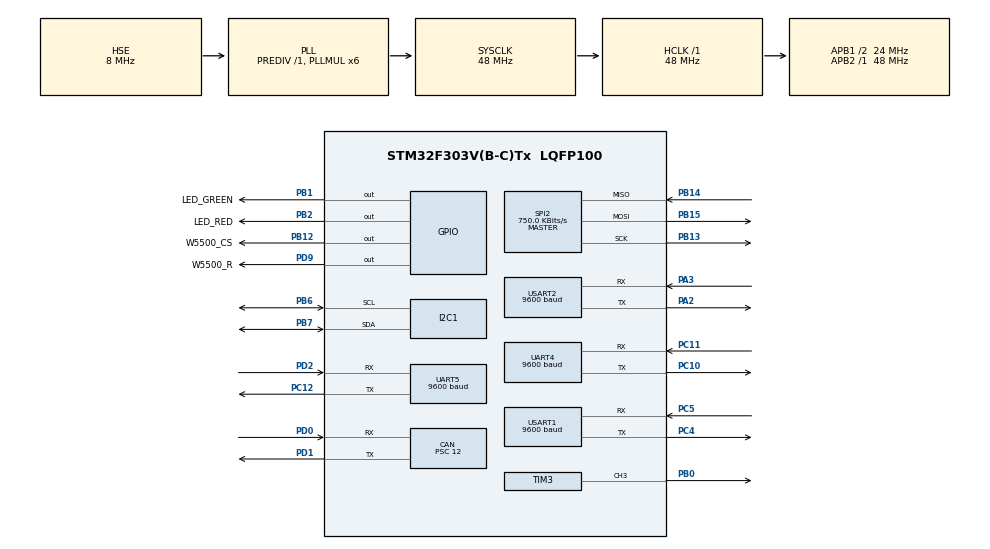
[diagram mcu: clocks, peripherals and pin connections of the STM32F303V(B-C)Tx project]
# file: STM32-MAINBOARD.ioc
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CAN.BS1=CAN_BS1_13TQ
CAN.BS2=CAN_BS2_2TQ
CAN.CalculateBaudRate=125000
CAN.CalculateTimeBit=8000.00
CAN.CalculateTimeQuantum=500.0
CAN.NART=ENABLE
CAN.Prescaler=12
Mcu.Family=STM32F3
Mcu.Name=STM32F303V(B-C)Tx
Mcu.Package=LQFP100
NVIC.CAN_RX1_IRQn=true\:3\:0\:true\:false\:true\:true\:true
NVIC.PriorityGroup=NVIC_PRIORITYGROUP_4
NVIC.TIM2_IRQn=true\:4\:0\:true\:false\:true\:true\:true
NVIC.TIM4_IRQn=true\:5\:0\:true\:false\:true\:true\:true
NVIC.UART4_IRQn=true\:1\:0\:true\:false\:true\:true\:true
NVIC.UART5_IRQn=true\:0\:0\:false\:false\:true\:true\:true
NVIC.USART2_IRQn=true\:2\:0\:true\:false\:true\:true\:true
PA13.Mode=Serial_Wire
PA13.Signal=SYS_JTMS-SWDIO
PA14.Mode=Serial_Wire
PA14.Signal=SYS_JTCK-SWCLK
PA2.Mode=Asynchronous
PA2.Signal=USART2_TX
PA3.Mode=Asynchronous
PA3.Signal=USART2_RX
PB0.Signal=S_TIM3_CH3
PB1.GPIO_Label=LED_GREEN
PB1.Signal=GPIO_Output
PB12.GPIO_Label=W5500_CS
PB12.Signal=GPIO_Output
PB13.Mode=Full_Duplex_Master
PB13.Signal=SPI2_SCK
PB14.Mode=Full_Duplex_Master
PB14.Signal=SPI2_MISO
PB15.Mode=Full_Duplex_Master
PB15.Signal=SPI2_MOSI
PB2.GPIO_Label=LED_RED
PB2.Signal=GPIO_Output
PB3.Signal=SYS_JTDO-TRACESWO
PB6.Mode=I2C
PB6.Signal=I2C1_SCL
PB7.Mode=I2C
PB7.Signal=I2C1_SDA
PC10.Mode=Asynchronous
PC10.Signal=UART4_TX
PC11.Mode=Asynchronous
PC11.Signal=UART4_RX
PC12.Mode=Asynchronous
PC12.Signal=UART5_TX
PC4.Mode=Asynchronous
PC4.Signal=USART1_TX
PC5.Mode=Asynchronous
PC5.Signal=USART1_RX
PD0.Mode=CAN_Activate
PD0.Signal=CAN_RX
PD1.Mode=CAN_Activate
PD1.Signal=CAN_TX
PD2.Mode=Asynchronous
PD2.Signal=UART5_RX
PD9.GPIO_Label=W5500_R
PD9.Signal=GPIO_Output
PF0-OSC_IN.Mode=HSE-External-Oscillator
PF0-OSC_IN.Signal=RCC_OSC_IN
PF1-OSC_OUT.Mode=HSE-External-Oscillator
PF1-OSC_OUT.Signal=RCC_OSC_OUT
ProjectManager.HeapSize=0x200
ProjectManager.StackSize=0x400
ProjectManager.TargetToolchain=STM32CubeIDE
RCC.AHBFreq_Value=48000000
RCC.APB1CLKDivider=RCC_HCLK_DIV2
RCC.APB1Freq_Value=24000000
RCC.APB1TimFreq_Value=48000000
RCC.APB2Freq_Value=48000000
RCC.APB2TimFreq_Value=48000000
RCC.CortexFreq_Value=48000000
RCC.HCLKFreq_Value=48000000
RCC.HSE_VALUE=8000000
RCC.HSI_VALUE=8000000
RCC.LSE_VALUE=32768
RCC.PLLMUL=RCC_PLL_MUL6
RCC.PLLSourceVirtual=RCC_PLLSOURCE_HSE
RCC.SYSCLKFreq_VALUE=48000000
RCC.SYSCLKSourceVirtual=RCC_SYSCLKSOURCE_PLLCLK
RCC.USBFreq_Value=48000000
SH.S_TIM3_CH3.0=TIM3_CH3,PWM Generation3 CH3
SPI2.BaudRatePrescaler=SPI_BAUDRATEPRESCALER_32
SPI2.CalculateBaudRate=750.0 KBits/s
SPI2.DataSize=SPI_DATASIZE_8BIT
SPI2.Direction=SPI_DIRECTION_2LINES
SPI2.Mode=SPI_MODE_MASTER
SPI2.VirtualType=VM_MASTER
TIM2.Period=1499
TIM2.Prescaler=31999
TIM3.Channel-PWM\ Generation3\ CH3=TIM_CHANNEL_3
TIM3.Period=1000-1
TIM3.Prescaler=48-1
TIM4.Period=99
TIM4.Prescaler=31999
UART4.BaudRate=9600
UART5.BaudRate=9600
USART1.BaudRate=9600
USART1.VirtualMode-Asynchronous=VM_ASYNC
USART2.BaudRate=9600
USART2.VirtualMode-Asynchronous=VM_ASYNC
VP_TIM2_VS_ClockSourceINT.Mode=Internal
VP_TIM3_VS_ClockSourceINT.Mode=Internal
VP_TIM4_VS_ClockSourceINT.Mode=Internal
board=custom

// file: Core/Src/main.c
/* USER CODE BEGIN Header */
/**
  ******************************************************************************
  * @file           : main.c
  * @brief          : Main program body
  ******************************************************************************
  * @attention
  *
  * <h2><center>&copy; Copyright (c) 2020 STMicroelectronics.
  * All rights reserved.</center></h2>
  *
  * This software component is licensed by ST under BSD 3-Clause license,
  * the "License"; You may not use this file except in compliance with the
  * License. You may obtain a copy of the License at:
  *                        opensource.org/licenses/BSD-3-Clause
  *
  ******************************************************************************
  */
/* USER CODE END Header */
#include "main.h"

/* USER CODE BEGIN Includes */
#include "mpf.h"
/* USER CODE END Includes */

/* USER CODE BEGIN PM */
MPF_DATA_T      	  mpfData;
CAN_TxHeaderTypeDef   TxHeader;
CAN_RxHeaderTypeDef   RxHeader;
uint8_t               TxData[8];
uint32_t              TxMailbox;
uint8_t               RxData[8];
uint8_t               Cmd_End[3]={0xFF,0xFF,0xFF};
char 			  	  aRxBuffer[20];
/* USER CODE END PM */

CAN_HandleTypeDef hcan;

I2C_HandleTypeDef hi2c1;

SPI_HandleTypeDef hspi2;

TIM_HandleTypeDef htim2;
TIM_HandleTypeDef htim3;
TIM_HandleTypeDef htim4;

UART_HandleTypeDef huart4;
UART_HandleTypeDef huart5;
UART_HandleTypeDef huart1;
UART_HandleTypeDef huart2;

void SystemClock_Config(void);
static void MX_GPIO_Init(void);
static void MX_USART1_UART_Init(void);
static void MX_I2C1_Init(void);
static void MX_UART4_Init(void);
static void MX_UART5_Init(void);
static void MX_USART2_UART_Init(void);
static void MX_SPI2_Init(void);
static void MX_TIM2_Init(void);
static void MX_TIM4_Init(void);
static void MX_CAN_Init(void);
static void MX_TIM3_Init(void);
/* USER CODE BEGIN PFP */
/* Function using for PRINTF in stm32 */
#ifdef  __GNUC__
  #define PUTCHAR_PROTOTYPE int __io_putchar(int ch)
#else
  #define PUTCHAR_PROTOTYPE int fputc(int ch, FILE *f)
#endif

/* Function of main program */
double Round_up(double input);
char* Cut_firstandlast(char *input);
double Convert_array(char *array);
int compare_array(int array1[], int array2[], int array3[], int array4[], int size);
void Initial_void(void);
void network_init(void);
void Selection(void);
int hexadecimalToDecimal(char hexVal[]);
void Check_RFID(void);
void RFID(void);
void Notify_RFID(void);
void Current(void);
void Left(void);
void Right(void);
void Compare_TQV(void);
void Send_hmi(char*array, int val1, double val2);
void Send_char(char*array1, char*id, char*array2);
void Send_current(char*array1, char*id, char*array2);
void Qei_Tqv_Current(void);
void Send_fault(void);
void Ethernet_Send(void);
void Ethernet_Receive(void);
void Get_data(char*array1, char*array2, int val1, int val2, int val3);
/* USER CODE END PFP */

/* USER CODE BEGIN 0 */
PUTCHAR_PROTOTYPE
{
	HAL_UART_Transmit(&huart5, (uint8_t *)&ch, 1,0xFFFF);
	return ch;
}

   void HMI_Send_string (char *id, char *string)          // Function: Send string to HMI display
   {
	   char buf[50];
	   sprintf(buf,"%s.txt=\"%s\"",id,string);
	   HAL_UART_Transmit(&huart4,(uint8_t *)buf,strlen(buf),1000);
	   HAL_UART_Transmit(&huart4,Cmd_End,3,100);
   }

/* This callback is called by the HAL_UART_IRQHandler when the given number of bytes are received */
     void HAL_UART_RxCpltCallback(UART_HandleTypeDef *huart)
     {
       if(huart->Instance == USART2)
       {
      	 uint8_t ret = HAL_OK;
      	     msg++;
      	     if( msg == msg_buff + MAX_RECV_LEN)
      	     {
      	         msg = msg_buff;
      	     }
      	     do
      	     {
      	    	 HAL_UART_Transmit(&huart2, (uint8_t *)msg, 1, 10);
      	         ret = HAL_UART_Receive_IT(&huart2,(uint8_t *)msg,1);
      	         HAL_GPIO_TogglePin(GPIOE,LED_GREEN_Pin);
      	         Flag.usart2 = true;
      	     }while(ret != HAL_OK);
       }
       if (huart->Instance == UART4)
       {
      	 uint8_t ret1 = HAL_OK;
   			 msg1++;
   			 if( msg1 == msg1_buff + MAX_RECV_LEN_S)
   			 {
   				 msg1 = msg1_buff;
   			 }
   			 do
   			 {
   				 ret1 = HAL_UART_Receive_IT(&huart4,(uint8_t *)msg1,1);
   				if (HAL_UART_STATE_READY == huart->RxState && HAL_LOCKED == huart->Lock)
   				{
   					__HAL_UNLOCK(huart);
   				}
   				HAL_GPIO_TogglePin(GPIOE,LED_GREEN_Pin);

   				 Flag.uart4 = true;
   			 }while(ret1 != HAL_OK);
       }
     }

/* This callback is called by the CAN_AddTxMessage */
     void HAL_CAN_RxFifo1MsgPendingCallback(CAN_HandleTypeDef *hcan)
     {
   	   	   	   	   	   	   	   	   /* Get RX message */
      	  if( HAL_CAN_GetRxMessage(hcan, CAN_RX_FIFO1, &RxHeader, RxData) != HAL_OK)
      	  {
      		  Error_Handler();
      	  }
      	  if ((RxHeader.IDE == CAN_ID_STD) && (RxHeader.DLC == 8))
      	  {
      	     switch(RxHeader.StdId)
      	     {
				 case 0x12E:
					  memcpy((&(mpfData.data302.voltageLow)), RxData, 8);
					 /* Updata Moto Crank RPM Data */
					 mpfData.nbiotData.motoCrankRPM = ((uint16_t)mpfData.data302.crankRPMhigh << 8) + (uint16_t)mpfData.data302.crankRPMlow;
					  HAL_GPIO_WritePin(GPIOE,LED_RED_Pin,GPIO_PIN_SET);
					  Flag.qei = true;
					  break;
				 case 0x192:
					 memcpy((&(mpfData.data402.torqueLow)), RxData, 8);
					 /* Updata Moto Torque Data */
					 mpfData.nbiotData.motoTorque = (double)((uint16_t)mpfData.data402.torqueLow + ((uint16_t)mpfData.data402.torqueHigh << 8)) * 5 / 1024;
					  HAL_GPIO_WritePin(GPIOE,LED_RED_Pin,GPIO_PIN_SET);
					  Flag.tqv = true;
					  break;
			 }
      	  }
     }

/* This callback is called by the Timer_IRQ interrupt */
     void HAL_TIM_PeriodElapsedCallback(TIM_HandleTypeDef *htim)
     {
   	   if (htim->Instance == TIM2)
   	   {
   		   if(temp_time2 == 1)
   		   {
   			   Tem.counter = Tem.counter + 1;
   		   }
   	   }
   	   if (htim->Instance == TIM4)
   	   {
   		  switch(temp_time4)
   		  {
   		  case 1:
   			  Left();
   			  break;
   		  case 2:
   			  Right();
   			  break;
   		  case 3:
   			snprintf(time_spent,10,"%d",Tem.counter);
		   for (int i =0, j= 80; ( i<= 4)&&(j <= 83); i++,j++)
		   {
			msg3_buff[j]=time_spent[i];
			if(Tem.counter < 100)
			   {
				   msg3_buff[82]='~';
				   msg3_buff[83]='*';

			   }
			   else if(Tem.counter < 1000)
			   {
				   msg3_buff[83]='~';
				   msg3_buff[84]='*';

			   }
			   else if(Tem.counter < 10000)
			   {
				   msg3_buff[84]='~';
				   msg3_buff[85]='*';
			   }
		   }
   			  break;
   		  case 4:
   			  Compare_TQV();
   			  break;
   		  case 5:
   			  HAL_NVIC_SystemReset();
   		  }
   	   }
     }
/*--------------------------------- Ethernet Function---------------------------------------------------------*/
     void HAL_SPI_ErrorCallback(SPI_HandleTypeDef *hspi)
     {
       printf("SPI_error %ld",hspi2.ErrorCode);
     }
     void W5500_Select(void) {
         HAL_GPIO_WritePin(GPIOB, W5500_CS_Pin, GPIO_PIN_RESET);  // CS LOW
     }
     void W5500_Unselect(void) {
         HAL_GPIO_WritePin(GPIOB, W5500_CS_Pin, GPIO_PIN_SET);    // CS HIGH
     }
     void W5500_ReadBuff(uint8_t* buff, uint16_t len) {
         HAL_SPI_Receive(&hspi2, buff, len, HAL_MAX_DELAY);
     }
     void W5500_WriteBuff(uint8_t* buff, uint16_t len) {
         HAL_SPI_Transmit(&hspi2, buff, len, HAL_MAX_DELAY);
     }
     uint8_t W5500_ReadByte(void) {
         uint8_t byte;
         W5500_ReadBuff(&byte, sizeof(byte));
         return byte;
     }
     void W5500_WriteByte(uint8_t byte) {
         W5500_WriteBuff(&byte, sizeof(byte));
     }
     void Callback_IPAssigned(void) {
         printf("Callback: IP assigned! Leased time: %ld sec\r\n", getDHCPLeasetime());
         ip_assigned = true;
     }
     void Callback_IPConflict(void) {
         printf("Callback: IP conflict!\r\n");
     }
/* USER CODE END 0 */

int main(void)
{

  /* MCU Configuration--------------------------------------------------------*/

  /* Reset of all peripherals, Initializes the Flash interface and the Systick. */
  HAL_Init();

  /* Configure the system clock */
  SystemClock_Config();

  /* Initialize all configured peripherals */
  MX_GPIO_Init();
  MX_USART1_UART_Init();
  MX_I2C1_Init();
  MX_UART4_Init();
  MX_UART5_Init();
  MX_USART2_UART_Init();
  MX_SPI2_Init();
  MX_TIM2_Init();
  MX_TIM4_Init();
  MX_CAN_Init();
  MX_TIM3_Init();
  /* USER CODE BEGIN 2 */
  	Initial_void();
	/* Network initialization */
	network_init();
  /* USER CODE END 2 */

  /* Infinite loop */
  while (1)
  {

    /* USER CODE BEGIN 3 */
#if 1
	  	  /*READ RFID*/
	if(Flag.usart2 == true)
	{
		RFID();
		Flag.usart2 = false;
		__HAL_TIM_SET_COMPARE(&htim3, TIM_CHANNEL_3, 100);
		HAL_Delay(100);
	}
	else
	{
		__HAL_TIM_SET_COMPARE(&htim3, TIM_CHANNEL_3,0);
	}
#endif
#if 1
//	if(flat7 == false)
//	{
//		HAL_Delay(3);
//		HAL_NVIC_SystemReset();
//	}
	if (Flag.uart4 == true)
	  {
		if (msg1_buff[0]==0xff)
		{
			//flat7 = false;
			temp_time4 = 5;
		}
		/* Touch button HOME or RETURN PAGE 0 will reset system*/
		if(msg1_buff[1] == 0x99)
			{
				//flat7 = false;
				temp_time4 = 5;
			}
#if 1
		/*TEST QEI-TQV-CURRENT*/
		if(msg1_buff[1] == 0x31)
			{
				Qei_Tqv_Current();
			}
			    Selection();
#endif
		/*ETHERNET CONNECT*/
		if(msg1_buff[1] == 0x32)
			{
#if 1
				/*Button slowest speed for adding oil motor */
				if(msg1_buff[3] == 0x46)
				{
					TxData[5]= 1;
					TxHeader.StdId = 0x1F5;
					HAL_Delay(2);
						 if(HAL_CAN_AddTxMessage(&hcan,&TxHeader,TxData, &TxMailbox) != HAL_OK)
							{
							   Error_Handler();
							}
				}
				/*Check RFID numbers are different and no lost or the same */
				Notify_RFID();
#endif
#if 1
				/*Touch button SEND*/
				if (msg1_buff[2] == 0x13)
				{
					flat2 = false;
					flat3 = false;
					Ethernet_Send();
				}
				/*Touch button GET*/
				if (msg1_buff[2] == 0x12)
				{
					Ethernet_Receive();
					  if(Flag.recv == true)
					  {
						  /* Display data */
						Get_data(cur1,cur11,6,3,23);	//Sensor washer

						Get_data(cur2,cur22,10,3,24);	//Gear washer

						Get_data(cur3,cur33,14,3,25);	//Shaft washer

						Get_data(cur4,cur44,18,3,26);	//Shaft washer(short side)

						Get_data(cur5,cur55,22,3,27);	//shaft washer

						Get_data(cur,curr,0,5,28);		//Current
						Flag.recv = false;
					  }
				}
#endif
			}
#endif
		}
//#endif
  }
  /* USER CODE END 3 */
}

void SystemClock_Config(void)
{
  RCC_OscInitTypeDef RCC_OscInitStruct = {0};
  RCC_ClkInitTypeDef RCC_ClkInitStruct = {0};
  RCC_PeriphCLKInitTypeDef PeriphClkInit = {0};

  /** Initializes the RCC Oscillators according to the specified parameters
  * in the RCC_OscInitTypeDef structure.
  */
  RCC_OscInitStruct.OscillatorType = RCC_OSCILLATORTYPE_HSI|RCC_OSCILLATORTYPE_HSE;
  RCC_OscInitStruct.HSEState = RCC_HSE_ON;
  RCC_OscInitStruct.HSEPredivValue = RCC_HSE_PREDIV_DIV1;
  RCC_OscInitStruct.HSIState = RCC_HSI_ON;
  RCC_OscInitStruct.HSICalibrationValue = RCC_HSICALIBRATION_DEFAULT;
  RCC_OscInitStruct.PLL.PLLState = RCC_PLL_ON;
  RCC_OscInitStruct.PLL.PLLSource = RCC_PLLSOURCE_HSE;
  RCC_OscInitStruct.PLL.PLLMUL = RCC_PLL_MUL6;
  if (HAL_RCC_OscConfig(&RCC_OscInitStruct) != HAL_OK)
  {
    Error_Handler();
  }
  /** Initializes the CPU, AHB and APB buses clocks
  */
  RCC_ClkInitStruct.ClockType = RCC_CLOCKTYPE_HCLK|RCC_CLOCKTYPE_SYSCLK
                              |RCC_CLOCKTYPE_PCLK1|RCC_CLOCKTYPE_PCLK2;
  RCC_ClkInitStruct.SYSCLKSource = RCC_SYSCLKSOURCE_PLLCLK;
  RCC_ClkInitStruct.AHBCLKDivider = RCC_SYSCLK_DIV1;
  RCC_ClkInitStruct.APB1CLKDivider = RCC_HCLK_DIV2;
  RCC_ClkInitStruct.APB2CLKDivider = RCC_HCLK_DIV1;

  if (HAL_RCC_ClockConfig(&RCC_ClkInitStruct, FLASH_LATENCY_1) != HAL_OK)
  {
    Error_Handler();
  }
  PeriphClkInit.PeriphClockSelection = RCC_PERIPHCLK_USART1|RCC_PERIPHCLK_USART2
                              |RCC_PERIPHCLK_UART4|RCC_PERIPHCLK_UART5
                              |RCC_PERIPHCLK_I2C1;
  PeriphClkInit.Usart1ClockSelection = RCC_USART1CLKSOURCE_PCLK2;
  PeriphClkInit.Usart2ClockSelection = RCC_USART2CLKSOURCE_PCLK1;
  PeriphClkInit.Uart4ClockSelection = RCC_UART4CLKSOURCE_PCLK1;
  PeriphClkInit.Uart5ClockSelection = RCC_UART5CLKSOURCE_PCLK1;
  PeriphClkInit.I2c1ClockSelection = RCC_I2C1CLKSOURCE_HSI;
  if (HAL_RCCEx_PeriphCLKConfig(&PeriphClkInit) != HAL_OK)
  {
    Error_Handler();
  }
}

static void MX_CAN_Init(void)
{

  /* USER CODE BEGIN CAN_Init 0 */
	CAN_FilterTypeDef  sFilterConfig = {0};
  /* USER CODE END CAN_Init 0 */

  hcan.Instance = CAN;
  hcan.Init.Prescaler = 12;
  hcan.Init.Mode = CAN_MODE_NORMAL;
  hcan.Init.SyncJumpWidth = CAN_SJW_1TQ;
  hcan.Init.TimeSeg1 = CAN_BS1_13TQ;
  hcan.Init.TimeSeg2 = CAN_BS2_2TQ;
  hcan.Init.TimeTriggeredMode = DISABLE;
  hcan.Init.AutoBusOff = DISABLE;
  hcan.Init.AutoWakeUp = DISABLE;
  hcan.Init.AutoRetransmission = ENABLE;
  hcan.Init.ReceiveFifoLocked = DISABLE;
  hcan.Init.TransmitFifoPriority = DISABLE;
  if (HAL_CAN_Init(&hcan) != HAL_OK)
  {
    Error_Handler();
  }
  /* USER CODE BEGIN CAN_Init 2 */
  /*##-1- Configure the CAN Filter ###########################################*/

          sFilterConfig.FilterBank = 0;
          sFilterConfig.FilterMode = CAN_FILTERMODE_IDMASK;
          sFilterConfig.FilterScale = CAN_FILTERSCALE_32BIT;
          sFilterConfig.FilterIdHigh = 0x0000;
          sFilterConfig.FilterIdLow = 0x0000;
          sFilterConfig.FilterMaskIdHigh = 0x0000;
          sFilterConfig.FilterMaskIdLow = 0x0000;
          sFilterConfig.FilterFIFOAssignment = CAN_RX_FIFO1;
          sFilterConfig.FilterActivation = ENABLE;
          sFilterConfig.SlaveStartFilterBank = 14;

          if (HAL_CAN_ConfigFilter(&hcan, &sFilterConfig) != HAL_OK)
          {
            /* Filter configuration Error */
            Error_Handler();
          }
      if (HAL_CAN_Start(&hcan) != HAL_OK)
       {
         /* Start Error */
         Error_Handler();
       }
      /*##-2- Activate CAN RX notification #######################################*/
      if (HAL_CAN_ActivateNotification(&hcan, CAN_IT_RX_FIFO1_MSG_PENDING) != HAL_OK)
      {
        /* Notification Error */
        Error_Handler();
      }
      /*##-3- Configure Transmission process #####################################*/

      TxHeader.ExtId = 0x01;
      TxHeader.RTR = CAN_RTR_DATA;
      TxHeader.IDE = CAN_ID_STD;
      TxHeader.DLC = 8;
      TxHeader.TransmitGlobalTime = DISABLE;
  /* USER CODE END CAN_Init 2 */

}

static void MX_I2C1_Init(void)
{

  hi2c1.Instance = I2C1;
  hi2c1.Init.Timing = 0x2000090E;
  hi2c1.Init.OwnAddress1 = 0;
  hi2c1.Init.AddressingMode = I2C_ADDRESSINGMODE_7BIT;
  hi2c1.Init.DualAddressMode = I2C_DUALADDRESS_DISABLE;
  hi2c1.Init.OwnAddress2 = 0;
  hi2c1.Init.OwnAddress2Masks = I2C_OA2_NOMASK;
  hi2c1.Init.GeneralCallMode = I2C_GENERALCALL_DISABLE;
  hi2c1.Init.NoStretchMode = I2C_NOSTRETCH_DISABLE;
  if (HAL_I2C_Init(&hi2c1) != HAL_OK)
  {
    Error_Handler();
  }
  /** Configure Analogue filter
  */
  if (HAL_I2CEx_ConfigAnalogFilter(&hi2c1, I2C_ANALOGFILTER_ENABLE) != HAL_OK)
  {
    Error_Handler();
  }
  /** Configure Digital filter
  */
  if (HAL_I2CEx_ConfigDigitalFilter(&hi2c1, 0) != HAL_OK)
  {
    Error_Handler();
  }

}

static void MX_SPI2_Init(void)
{

  /* SPI2 parameter configuration*/
  hspi2.Instance = SPI2;
  hspi2.Init.Mode = SPI_MODE_MASTER;
  hspi2.Init.Direction = SPI_DIRECTION_2LINES;
  hspi2.Init.DataSize = SPI_DATASIZE_8BIT;
  hspi2.Init.CLKPolarity = SPI_POLARITY_LOW;
  hspi2.Init.CLKPhase = SPI_PHASE_1EDGE;
  hspi2.Init.NSS = SPI_NSS_SOFT;
  hspi2.Init.BaudRatePrescaler = SPI_BAUDRATEPRESCALER_32;
  hspi2.Init.FirstBit = SPI_FIRSTBIT_MSB;
  hspi2.Init.TIMode = SPI_TIMODE_DISABLE;
  hspi2.Init.CRCCalculation = SPI_CRCCALCULATION_DISABLE;
  hspi2.Init.CRCPolynomial = 7;
  hspi2.Init.CRCLength = SPI_CRC_LENGTH_DATASIZE;
  hspi2.Init.NSSPMode = SPI_NSS_PULSE_ENABLE;
  if (HAL_SPI_Init(&hspi2) != HAL_OK)
  {
    Error_Handler();
  }

}

static void MX_TIM2_Init(void)
{

  TIM_ClockConfigTypeDef sClockSourceConfig = {0};
  TIM_MasterConfigTypeDef sMasterConfig = {0};

  htim2.Instance = TIM2;
  htim2.Init.Prescaler = 31999;
  htim2.Init.CounterMode = TIM_COUNTERMODE_UP;
  htim2.Init.Period = 1499;
  htim2.Init.ClockDivision = TIM_CLOCKDIVISION_DIV1;
  htim2.Init.AutoReloadPreload = TIM_AUTORELOAD_PRELOAD_DISABLE;
  if (HAL_TIM_Base_Init(&htim2) != HAL_OK)
  {
    Error_Handler();
  }
  sClockSourceConfig.ClockSource = TIM_CLOCKSOURCE_INTERNAL;
  if (HAL_TIM_ConfigClockSource(&htim2, &sClockSourceConfig) != HAL_OK)
  {
    Error_Handler();
  }
  sMasterConfig.MasterOutputTrigger = TIM_TRGO_RESET;
  sMasterConfig.MasterSlaveMode = TIM_MASTERSLAVEMODE_DISABLE;
  if (HAL_TIMEx_MasterConfigSynchronization(&htim2, &sMasterConfig) != HAL_OK)
  {
    Error_Handler();
  }

}

static void MX_TIM3_Init(void)
{

  TIM_ClockConfigTypeDef sClockSourceConfig = {0};
  TIM_MasterConfigTypeDef sMasterConfig = {0};
  TIM_OC_InitTypeDef sConfigOC = {0};

  htim3.Instance = TIM3;
  htim3.Init.Prescaler = 48-1;
  htim3.Init.CounterMode = TIM_COUNTERMODE_UP;
  htim3.Init.Period = 1000-1;
  htim3.Init.ClockDivision = TIM_CLOCKDIVISION_DIV1;
  htim3.Init.AutoReloadPreload = TIM_AUTORELOAD_PRELOAD_DISABLE;
  if (HAL_TIM_Base_Init(&htim3) != HAL_OK)
  {
    Error_Handler();
  }
  sClockSourceConfig.ClockSource = TIM_CLOCKSOURCE_INTERNAL;
  if (HAL_TIM_ConfigClockSource(&htim3, &sClockSourceConfig) != HAL_OK)
  {
    Error_Handler();
  }
  if (HAL_TIM_PWM_Init(&htim3) != HAL_OK)
  {
    Error_Handler();
  }
  sMasterConfig.MasterOutputTrigger = TIM_TRGO_RESET;
  sMasterConfig.MasterSlaveMode = TIM_MASTERSLAVEMODE_DISABLE;
  if (HAL_TIMEx_MasterConfigSynchronization(&htim3, &sMasterConfig) != HAL_OK)
  {
    Error_Handler();
  }
  sConfigOC.OCMode = TIM_OCMODE_PWM1;
  sConfigOC.Pulse = 0;
  sConfigOC.OCPolarity = TIM_OCPOLARITY_HIGH;
  sConfigOC.OCFastMode = TIM_OCFAST_DISABLE;
  if (HAL_TIM_PWM_ConfigChannel(&htim3, &sConfigOC, TIM_CHANNEL_3) != HAL_OK)
  {
    Error_Handler();
  }
  HAL_TIM_MspPostInit(&htim3);

}

static void MX_TIM4_Init(void)
{

  TIM_ClockConfigTypeDef sClockSourceConfig = {0};
  TIM_MasterConfigTypeDef sMasterConfig = {0};

  htim4.Instance = TIM4;
  htim4.Init.Prescaler = 31999;
  htim4.Init.CounterMode = TIM_COUNTERMODE_UP;
  htim4.Init.Period = 99;
  htim4.Init.ClockDivision = TIM_CLOCKDIVISION_DIV1;
  htim4.Init.AutoReloadPreload = TIM_AUTORELOAD_PRELOAD_DISABLE;
  if (HAL_TIM_Base_Init(&htim4) != HAL_OK)
  {
    Error_Handler();
  }
  sClockSourceConfig.ClockSource = TIM_CLOCKSOURCE_INTERNAL;
  if (HAL_TIM_ConfigClockSource(&htim4, &sClockSourceConfig) != HAL_OK)
  {
    Error_Handler();
  }
  sMasterConfig.MasterOutputTrigger = TIM_TRGO_RESET;
  sMasterConfig.MasterSlaveMode = TIM_MASTERSLAVEMODE_DISABLE;
  if (HAL_TIMEx_MasterConfigSynchronization(&htim4, &sMasterConfig) != HAL_OK)
  {
    Error_Handler();
  }

}

static void MX_UART4_Init(void)
{

  huart4.Instance = UART4;
  huart4.Init.BaudRate = 9600;
  huart4.Init.WordLength = UART_WORDLENGTH_8B;
  huart4.Init.StopBits = UART_STOPBITS_1;
  huart4.Init.Parity = UART_PARITY_NONE;
  huart4.Init.Mode = UART_MODE_TX_RX;
  huart4.Init.HwFlowCtl = UART_HWCONTROL_NONE;
  huart4.Init.OverSampling = UART_OVERSAMPLING_16;
  huart4.Init.OneBitSampling = UART_ONE_BIT_SAMPLE_DISABLE;
  huart4.AdvancedInit.AdvFeatureInit = UART_ADVFEATURE_NO_INIT;
  if (HAL_UART_Init(&huart4) != HAL_OK)
  {
    Error_Handler();
  }

}

static void MX_UART5_Init(void)
{

  huart5.Instance = UART5;
  huart5.Init.BaudRate = 9600;
  huart5.Init.WordLength = UART_WORDLENGTH_8B;
  huart5.Init.StopBits = UART_STOPBITS_1;
  huart5.Init.Parity = UART_PARITY_NONE;
  huart5.Init.Mode = UART_MODE_TX_RX;
  huart5.Init.HwFlowCtl = UART_HWCONTROL_NONE;
  huart5.Init.OverSampling = UART_OVERSAMPLING_16;
  huart5.Init.OneBitSampling = UART_ONE_BIT_SAMPLE_DISABLE;
  huart5.AdvancedInit.AdvFeatureInit = UART_ADVFEATURE_NO_INIT;
  if (HAL_UART_Init(&huart5) != HAL_OK)
  {
    Error_Handler();
  }

}

static void MX_USART1_UART_Init(void)
{

  huart1.Instance = USART1;
  huart1.Init.BaudRate = 9600;
  huart1.Init.WordLength = UART_WORDLENGTH_8B;
  huart1.Init.StopBits = UART_STOPBITS_1;
  huart1.Init.Parity = UART_PARITY_NONE;
  huart1.Init.Mode = UART_MODE_TX_RX;
  huart1.Init.HwFlowCtl = UART_HWCONTROL_NONE;
  huart1.Init.OverSampling = UART_OVERSAMPLING_16;
  huart1.Init.OneBitSampling = UART_ONE_BIT_SAMPLE_DISABLE;
  huart1.AdvancedInit.AdvFeatureInit = UART_ADVFEATURE_NO_INIT;
  if (HAL_UART_Init(&huart1) != HAL_OK)
  {
    Error_Handler();
  }

}

static void MX_USART2_UART_Init(void)
{

  huart2.Instance = USART2;
  huart2.Init.BaudRate = 9600;
  huart2.Init.WordLength = UART_WORDLENGTH_8B;
  huart2.Init.StopBits = UART_STOPBITS_1;
  huart2.Init.Parity = UART_PARITY_NONE;
  huart2.Init.Mode = UART_MODE_TX_RX;
  huart2.Init.HwFlowCtl = UART_HWCONTROL_NONE;
  huart2.Init.OverSampling = UART_OVERSAMPLING_16;
  huart2.Init.OneBitSampling = UART_ONE_BIT_SAMPLE_DISABLE;
  huart2.AdvancedInit.AdvFeatureInit = UART_ADVFEATURE_NO_INIT;
  if (HAL_UART_Init(&huart2) != HAL_OK)
  {
    Error_Handler();
  }

}

static void MX_GPIO_Init(void)
{
  GPIO_InitTypeDef GPIO_InitStruct = {0};

  /* GPIO Ports Clock Enable */
  __HAL_RCC_GPIOF_CLK_ENABLE();
  __HAL_RCC_GPIOA_CLK_ENABLE();
  __HAL_RCC_GPIOC_CLK_ENABLE();
  __HAL_RCC_GPIOB_CLK_ENABLE();
  __HAL_RCC_GPIOD_CLK_ENABLE();

  /*Configure GPIO pin Output Level */
  HAL_GPIO_WritePin(GPIOB, LED_GREEN_Pin|LED_RED_Pin|W5500_CS_Pin, GPIO_PIN_RESET);

  /*Configure GPIO pin Output Level */
  HAL_GPIO_WritePin(W5500_R_GPIO_Port, W5500_R_Pin, GPIO_PIN_RESET);

  /*Configure GPIO pins : LED_GREEN_Pin LED_RED_Pin W5500_CS_Pin */
  GPIO_InitStruct.Pin = LED_GREEN_Pin|LED_RED_Pin|W5500_CS_Pin;
  GPIO_InitStruct.Mode = GPIO_MODE_OUTPUT_PP;
  GPIO_InitStruct.Pull = GPIO_NOPULL;
  GPIO_InitStruct.Speed = GPIO_SPEED_FREQ_LOW;
  HAL_GPIO_Init(GPIOB, &GPIO_InitStruct);

  /*Configure GPIO pin : W5500_R_Pin */
  GPIO_InitStruct.Pin = W5500_R_Pin;
  GPIO_InitStruct.Mode = GPIO_MODE_OUTPUT_PP;
  GPIO_InitStruct.Pull = GPIO_NOPULL;
  GPIO_InitStruct.Speed = GPIO_SPEED_FREQ_LOW;
  HAL_GPIO_Init(W5500_R_GPIO_Port, &GPIO_InitStruct);

}

/* USER CODE BEGIN 4 */
/*---------------------------------------------------Secondary Function------------------------------------------------*/
double Round_up(double input)
{
	double value = (int)(input * 100 + .5);
	return value / 100;
}
char * Cut_firstandlast(char *input)
{
  int len = strlen(input);
  if(len > 0)
    input++;                //Go past the first char
  if(len > 1)
    input[len - 2] = '\0'; //Replace the last char with a null termination
  return input;
}

double Convert_array(char *array)
{
	char x = array[14];
	double y;
	int pos = 0;
	int size = sizeof(array);
	for(int i = pos; i< size + 2; i++)
	{
		array[i]=array[i+1];
	}
	size--;
	int len = strlen(array);
	if (len > 0)
	{
		array[len-8] = '\0';
	}
	y = atof(array);
	switch (x)
	{
	case '0':
		break;
	case '1':
		y = y / 10;
		break;
	case '2':
		y = y / 100;
		break;
	}
	return y;
}

int hexadecimalToDecimal(char hexVal[])
{
    int len = strlen(hexVal);

    // Initializing base value to 1, i.e 16^0
    int base = 1;
    int dec_val = 0;

    // Extracting characters as digits from last character
    for (int i=len-1; i>=0; i--)
    {
        // if character lies in '0'-'9', converting
        // it to integral 0-9 by subtracting 48 from
        // ASCII value.
        if (hexVal[i]>='0' && hexVal[i]<='9')
        {
            dec_val += (hexVal[i] - 48)*base;
            // incrementing base by power
            base = base * 16;
        }
        // if character lies in 'A'-'F' , converting
        // it to integral 10 - 15 by subtracting 55
        // from ASCII value
        else if (hexVal[i]>='A' && hexVal[i]<='F')
        {
            dec_val += (hexVal[i] - 55)*base;
            // incrementing base by power
            base = base*16;
        }
    }
    return dec_val;
}
int compare_array(int array1[], int array2[], int array3[], int array4[], int size)
{

   int g,h,k,l,m,n = 0;
	for(int i=1; i< size ; i++)
	{
		if(array1[i] != array2[i])
		{
			g = 1;
		}
		if(array1[i] != array3[i])
		{
			h = 1;
		}
		if(array1[i] != array4[i])
		{
			k = 1;
		}
		if(array2[i] != array3[i])
		{
			l = 1;
		}
		if(array2[i] != array4[i])
		{
			m = 1;
		}
		if(array3[i] != array4[i])
		{
			n = 1;
		}
	}
	if ((g==1)&&(h==1)&&(k==1)&&(l==1)&&(m==1)&&(n==1))
	{
		temp_array = 1;
	}
	else {temp_array = 2;}
	return temp_array;
}
void Send_hmi(char*array, int val1, double val2)
{
	sprintf(array,"t%d.txt=\"%.2f\"",val1,val2);
	HAL_UART_Transmit(&huart4,(uint8_t *)array,strlen(array),1000);
	HAL_UART_Transmit(&huart4,Cmd_End,3,100);
}
void Send_char(char*array1, char*id, char*array2)
{
	sprintf(array1,"%s.txt=\"%s\"",id,array2);
	HAL_UART_Transmit(&huart4,(uint8_t *)array1,strlen(array1),1000);
	HAL_UART_Transmit(&huart4,Cmd_End,3,100);
}
void Send_current(char*array1, char*id, char*array2)
{
	sprintf(array1,"%s.txt=\"%.6s\"",id,array2);
	HAL_UART_Transmit(&huart4,(uint8_t *)array1,strlen(array1),1000);
	HAL_UART_Transmit(&huart4,Cmd_End,3,100);
}
/*-----------------------------------------------------Initial void--------------------------------------------------*/
void Initial_void(void)
{
	/* Open all interrupts in use*/
	if(HAL_UART_Receive_IT(&huart2,(uint8_t *)msg,1) != HAL_OK)
	{
		Error_Handler();
	}
	if(HAL_UART_Receive_IT(&huart4,(uint8_t *)msg1,1) != HAL_OK)
	{
		Error_Handler();
	}
	HAL_TIM_Base_Start_IT(&htim4);
	HAL_TIM_Base_Start_IT(&htim2);
	HAL_TIM_PWM_Start(&htim3, TIM_CHANNEL_3);
	/*Reset W5500 before running program*/
	HAL_GPIO_WritePin(GPIOC,W5500_R_Pin,GPIO_PIN_SET);
	HAL_Delay(5);
	HAL_GPIO_WritePin(GPIOC,W5500_R_Pin,GPIO_PIN_RESET);
	/* Set all value in buff */
	msg4_buff[0]='~';
	msg4_buff[1]='G';
	msg4_buff[2]='E';
	msg4_buff[3]='T';
	msg4_buff[4]='~';

	for (int a=0,b=37,c=48,d=59; (a<=9)&&(b<=46)&&(c<=57)&&(d<=68); a++,b++,c++,d++)
	{
	   msg3_buff[a]='0';
	   msg3_buff[b]='0';
	   msg3_buff[c]='0';
	   msg3_buff[d]='0';
	}
	msg3_buff[10]='~';

	for(int i=16; i <= 36; i+=4)
	{
		msg3_buff[i]='~';
		if (i == 36)
		{
			i+=11;
			for(i=47; i <=69; i+=11)
			{
				msg3_buff[i]='~';
				if (i == 69)
				{
					i+=5;
					for(i=74; i < 80; i+=5)
					{
						msg3_buff[i]='~';
					}
				}
			}
		}
	}
	for(int i=18; i<35; i+=4)
	{
		msg3_buff[i]='.';
	}
	for(int i=17; i <= 25; i+=4)
	{
		msg3_buff[i]='0';
		if(i == 25)
		{
			for(i =25; i <= 35; i+=2)
			{
				msg3_buff[i]='0';
			}
		}
	}

}
/*-----------------------------------------------------Ethernet void--------------------------------------------------*/
void network_init(void)
{
	/* Chip selection call back */
	#if   _WIZCHIP_IO_MODE_ == _WIZCHIP_IO_MODE_SPI_VDM_
		reg_wizchip_cs_cbfunc(W5500_Select, W5500_Unselect);
	#elif _WIZCHIP_IO_MODE_ == _WIZCHIP_IO_MODE_SPI_FDM_
		reg_wizchip_cs_cbfunc(SPI_CS_Select, SPI_CS_Deselect);  // CS must be tried with LOW.
	#else
	#if (_WIZCHIP_IO_MODE_ & _WIZCHIP_IO_MODE_SIP_) != _WIZCHIP_IO_MODE_SIP_
		#error "Unknown _WIZCHIP_IO_MODE_"
	#else
		reg_wizchip_cs_cbfunc(wizchip_select, wizchip_deselect);
	#endif
	#endif
	/* SPI Read & Write callback function */
	reg_wizchip_spi_cbfunc(W5500_ReadByte, W5500_WriteByte);

	/* WIZCHIP SOCKET Buffer initialize */
	if(ctlwizchip(CW_INIT_WIZCHIP,(void*)memsize) == -1){
		printf("WIZCHIP Initialized fail.\r\n");
	while(1);
	}
	/* PHY link status check */
	do{
		if(ctlwizchip(CW_GET_PHYLINK, (void*)&tmp) == -1){
			printf("Unknown PHY Link status.\r\n");
		}
	}while(tmp == PHY_LINK_OFF);
    uint8_t tmpstr[6];
	ctlnetwork(CN_SET_NETINFO, (void*)&gWIZNETINFO);
	ctlnetwork(CN_GET_NETINFO, (void*)&gWIZNETINFO);
	// Display Network Information
	ctlwizchip(CW_GET_ID,(void*)tmpstr);
//	uint8_t ip[4];
//	getSIPR (ip);
//	    printf("IP : %d.%d.%d.%d\r\n", ip[0],ip[1],ip[2],ip[3]);
//	    getSUBR(ip);
//	    printf("SN : %d.%d.%d.%d\r\n", ip[0],ip[1],ip[2],ip[3]);
//	    getGAR(ip);
//	    printf("GW : %d.%d.%d.%d\r\n", ip[0],ip[1],ip[2],ip[3]);
//	    printf("Network is ready.\r\n");

}
/*----------------------------------------------------Selection void----------------------------------------------------*/
void Selection(void)
{
	switch (msg1_buff[4])
	  {
	  case 0x70:
		  msg3_buff[19]='3';
		  break;
	  case 0x71:
		  msg3_buff[19]='4';
		  break;
	  case 0x72:
		  msg3_buff[19]='5';
		  break;
	  case 0x73:
		  msg3_buff[19]='6';
		  break;
	  case 0x93:
		  msg3_buff[19]='8';
	  }
	switch (msg1_buff[5])
	  {
	  case 0x74:
		  msg3_buff[23]='3';
		  break;
	  case 0x75:
		  msg3_buff[23]='4';
		  break;
	  case 0x76:
		  msg3_buff[23]='5';
		  break;
	  case 0x77:
		  msg3_buff[23]='6';
		  break;
	  case 0x78:
		  msg3_buff[23]='7';
		  break;
	  }
	switch (msg1_buff[6])
	  {
	  case 0x79:
		  msg3_buff[25]='1';
		  msg3_buff[27]='8';
		  break;
	  case 0x80:
		  msg3_buff[25]='1';
		  msg3_buff[27]='9';
		  break;
	  case 0x81:
		  msg3_buff[25]='2';
		  msg3_buff[27]='0';
		  break;
	  case 0x82:
		  msg3_buff[29]='2';
		  msg3_buff[31]='3';
		  break;
	  case 0x83:
		  msg3_buff[29]='2';
		  msg3_buff[31]='4';
		  break;
	  case 0x84:
		  msg3_buff[29]='2';
		  msg3_buff[31]='5';
		  break;
	  case 0x85:
		  msg3_buff[29]='2';
		  msg3_buff[31]='6';
		  break;
	  case 0x86:
		  msg3_buff[29]='2';
		  msg3_buff[31]='7';
		  break;
	  case 0x87:
		  msg3_buff[33]='5';
		  msg3_buff[35]='5';
		  break;
	  case 0x88:
		  msg3_buff[33]='5';
		  msg3_buff[35]='6';
		  break;
	  case 0x89:
		  msg3_buff[33]='5';
		  msg3_buff[35]='7';
		  break;
	  case 0x90:
		  msg3_buff[33]='5';
		  msg3_buff[35]='8';
		  break;
	  case 0x91:
		  msg3_buff[33]='5';
		  msg3_buff[35]='9';
		  break;
	  case 0x92:
		  msg3_buff[33]='6';
		  msg3_buff[35]='0';
		  break;
	  }
}
/*----------------------------------------------------RFID void----------------------------------------------------*/
void RFID(void)
{
	HAL_Delay(3);
	char *msg_bufff = Cut_firstandlast(msg_buff);
	memcpy(msg2_buff,&msg_bufff[2],8*sizeof(char));
	snprintf(buff4,sizeof(buff4),"%010d",hexadecimalToDecimal(msg2_buff));
			if(msg1_buff[1] == 0x31)
			{
				for (int a=0; a < 10; a++)             // RFID MOTOR
					{
					   msg3_buff[a] = buff4[a];
					   com1[a] = buff4[a];
					}
					t1=1;
					Send_char(buff,"t10",buff4);
			}
			else if(msg1_buff[1]== 0x32)
			{
				switch (msg1_buff[3])
					{
						case 0x40:;
							for(int i = 0,j=37;(i <= 9)&&(j <= 46); i++,j++)      // RFID TORQUE
								{
									msg3_buff[j] = buff4[i];
									com2[i] = buff4[i];
								}
							t2=1;
							Send_char(buff,"bt21",buff4);
							break;
						case 0x42:
							for(int i = 0,j=5;(i <= 9)&&(j <= 16); i++,j++)       // RFID MOTOR WHEN USING GET
								{
									msg4_buff[j] = buff4[i];
								}
							Send_char(buff,"bt20",buff4);
							break;
						case 0x44:
							for(int i = 0,j=48;(i <= 9)&&(j <= 57); i++,j++)      // RFID MODEL
								{
									msg3_buff[j] = buff4[i];
									com3[i] = buff4[i];
								}
							t3=1;
							Send_char(buff,"bt22",buff4);
							compare_array(com1,com2,com3,com4,10);
							break;
					}
			}
		  else
			{
				for(int i = 0,j=59;(i <= 9)&&(j <= 68); i++,j++)              //RFID Employee
					{
						msg3_buff[j] = buff4[i];
						com4[i] = buff4[i];
					}
			  t4=1;
			  Send_char(buff,"t00",buff4);
			  memset(msg1_buff,0,sizeof(msg1_buff));
			}
	  memset(msg_buff, 0, sizeof(msg_buff));
	  msg = msg_buff;
	  (&huart2)->pRxBuffPtr = (uint8_t *)msg;
}
void Notify_RFID(void)
{
	if(flat4 == false)
		{
			if(((t1+t2+t3+t4) == 4)&&(flat2)&&(temp_array == 1))
			{
				HMI_Send_string("t29","可以發送");
			}
			if(((t1+t2+t3+t4) != 4)&&(flat3))
			{
				HMI_Send_string("t29","RFID 遺失");
			}
			if ((temp_array == 2)&&(flat3))
			{
				HMI_Send_string("t29","RFID 一樣");
			}
		}
	if(flat6 == false)
		{
			if(((t1+t2+t3+t4) == 4)&&(flat2)&&(temp_array == 1))
			{
				HMI_Send_string("t29","CAN SEND");
			}
			if(((t1+t2+t3+t4) != 4)&&(flat3))
			{
				HMI_Send_string("t29","LOST RFID");
			}
			if ((temp_array == 2)&&(flat3))
			{
				HMI_Send_string("t29","SAME RFID");
			}
		}
	if (flat5 == false)
	{
		if(((t1+t2+t3+t4) == 4)&&(flat2)&&(temp_array == 1))
			{
				HMI_Send_string("t29","CÓ THỂ GỬI");
			}
			if(((t1+t2+t3+t4) != 4)&&(flat3))
			{
				HMI_Send_string("t29","THIẾU RFID");
			}
			if ((temp_array == 2)&&(flat3))
			{
				HMI_Send_string("t29","TRÙNG RFID");
			}
	}
}
/*----------------------------------------------------QEI-TQV-CURRENT void----------------------------------------------------*/
void Current(void)
{
	/*Send CAN Bus value to boost maximum motor speed */
	TxData[0]= 0xCA;
	TxData[1]= 1;
	TxHeader.StdId = 0x321;
		 if(HAL_CAN_AddTxMessage(&hcan,&TxHeader,TxData, &TxMailbox) != HAL_OK)
			{
			 //  Error_Handler();
			   printf("fault current \r\n" );
			}
									   /* Motor Run */
		 HAL_UART_Transmit(&huart1,(uint8_t *)ar, strlen(ar),1000);
		 HAL_UART_Receive(&huart1,(uint8_t *)aRxBuffer, 10,500);

		 Send_current(buf1,"t17",aRxBuffer);

		 HAL_UART_Transmit(&huart1,(uint8_t *)ar1, strlen(ar1),1000);
		 HAL_UART_Receive(&huart1,(uint8_t *)aRxBuffer1, 20,500);

		 Tem.z = Convert_array(aRxBuffer1);
		 snprintf(aRxBuffer_new,20,"%f", Tem.z);

		 for(int i = 0,j=11;(i <= 5)&&(j <= 15); i++,j++)
			{
				msg3_buff[j]=aRxBuffer_new[i];
			}
		 Send_current(buf2,"t18",aRxBuffer_new);
}
void Left(void)
{
	TxHeader.StdId = 0x12D;
	if(HAL_CAN_AddTxMessage(&hcan,&TxHeader,TxData, &TxMailbox) != HAL_OK)
	   {
		   Error_Handler();
	   }
	if(Flag.qei == true)
	  {
		sprintf(buff2,"t13.txt=\"%2.2x\"",mpfData.nbiotData.motoCrankRPM);
		HAL_UART_Transmit(&huart4,(uint8_t *)buff2,strlen(buff2),1000);
		HAL_UART_Transmit(&huart4,Cmd_End,3,100);
	  }
}
void Right(void)
{
	TxHeader.StdId = 0x12D;
	if(HAL_CAN_AddTxMessage(&hcan,&TxHeader,TxData, &TxMailbox) != HAL_OK)
	 {
		Error_Handler();
	 }
	if(Flag.qei == true)
	{
		sprintf(buff2,"t12.txt=\"%2.2x\"",mpfData.nbiotData.motoCrankRPM);
		HAL_UART_Transmit(&huart4,(uint8_t *)buff2,strlen(buff2),1000);
		HAL_UART_Transmit(&huart4,Cmd_End,3,100);
	}
}
void Compare_TQV(void)
{
	Send_hmi(buff,15,mpfData.nbiotData.motoTorque);
	Tem.size++;
	arr[Tem.size] = mpfData.nbiotData.motoTorque;
	if (Tem.size == 300){Tem.size =0;}
							   /* Find max and min*/
			 Tem.min = arr[1];
			 Tem.max = arr[1];
				   for(int i =2; i<Tem.size; i++)
				   {
						if (arr[i] < Tem.min)
						   {
							Tem.min = arr[i];
						   }

						if (arr[i] > Tem.max)
						   {
							Tem.max = arr[i];
						   }

				   }
				   Send_hmi(buff3,16,Tem.min);

				   Send_hmi(buff1,14,Tem.max);

				snprintf(max1,10,"%f",Round_up(Tem.max));
				for(int i =0, j = 75;(i<= 3)&&(j <= 78); i++, j++)
				{
					msg3_buff[j]= max1[i];
				}
				snprintf(min1,10,"%f",Round_up(Tem.min));
				for(int i =0, j = 70;(i<= 3)&&(j <= 73); i++, j++)
				{
					msg3_buff[j]= min1[i];
				}
			  if (msg1_buff[3] == 52)                 // Model "41" Motor
			  {
				  if (Tem.min <= 4.10 )
				  {
					switch(msg1_buff[7])
						{
						case 0x27:
							HMI_Send_string("t11","Success");
							flat6 = false;
							break;
						case 0x28:
							HMI_Send_string("t11","成功");
							flat4 = false;
							break;
						case 0x29:
							HMI_Send_string("t11","Đạt");
							flat5 = false;
							break;
						}
				  }
				  else
				  {
					switch(msg1_buff[7])
						{
						case 0x27:
							HMI_Send_string("t11","Fail");
							flat6 = false;
							break;
						case 0x28:
							HMI_Send_string("t11","失敗");
							flat4 = false;
							break;
						case 0x29:
							HMI_Send_string("t11","Không đạt");
							flat5 = false;
							break;
						}
				  }
			  }
			  else                                   // For Another motors (6.0 or M2...)
			  {
						  /* Calculate value and give the motor's result*/
				if((Tem.max - Tem.min) <= 0.3 && (Tem.max - Tem.min) >= 0.11 )
					{
					switch(msg1_buff[7])
						{
						case 0x27:
							HMI_Send_string("t11","Success");
							flat6 = false;
							break;
						case 0x28:
							HMI_Send_string("t11","成功");
							flat4 = false;
							break;
						case 0x29:
							HMI_Send_string("t11","Đạt");
							flat5 = false;
							break;
						}
					}
				else
					{
					switch(msg1_buff[7])
						{
						case 0x27:
							HMI_Send_string("t11","Fail");
							flat6 = false;
							break;
						case 0x28:
							HMI_Send_string("t11","失敗");
							flat4 = false;
							break;
						case 0x29:
							HMI_Send_string("t11","Không đạt");
							flat5 = false;
							break;
						}
					}
			  }
}
void Qei_Tqv_Current(void)
{
	flat=true;
	temp_time2 = 1;
		if(msg1_buff[2]==0x36)
		{
		  TxData[0]= 00;
		  TxHeader.StdId = 0x191;
			if(HAL_CAN_AddTxMessage(&hcan,&TxHeader,TxData, &TxMailbox) != HAL_OK)
			{
				Error_Handler();
			}
			HAL_Delay(0.5);
			if (mpfData.data402.cw != 0)
			{
				HAL_Delay(2);
				temp_time4 = 1;
			}
			else
			{
				HAL_Delay(2);
				temp_time4 = 2;
			}
/*-------------------------------------------------------------------------------TEST TQV-----------------------------------------------------------------------------*/
			if(Flag.tqv == true)
			{
				HAL_Delay(3);
				temp_time4 = 4;
			}
		}
		else if(msg1_buff[2] == 37)
		{
			memset(TxData,0, sizeof(TxData));
			memset(RxData,0, sizeof(RxData));
			memset(max1,0,sizeof(max1));
			memset(min1,0,sizeof(min1));
			memset(arr,0,sizeof(arr));
			Flag.tqv = false;
			Flag.qei = false;
		}
/*-------------------------------------------------------------------------------READ CURRENT-----------------------------------------------------------------------------*/
	  if (msg1_buff[3] == 0x01)
		{
			Current();
		}
	  else
		{
		  memset(TxData,0,sizeof(TxData));
		}
}
/*----------------------------------------------------ETHERNET SEND void----------------------------------------------------*/
void Send_fault(void)
{
	if (gDATABUF[0] == 78)
		{
			flat3=false;
			flat=false;
			if(flat4 == false)
			{
				switch (gDATABUF[1])
				{
				case 49:            /* Fault N1 */
					HMI_Send_string("t70","沒有 RFID 馬達");
					break;
				case 50:			/* Fault N2 */
					HMI_Send_string("t70","沒有 RFID 品號");
					break;
				case 51:			/* Fault N3 */
					HMI_Send_string("t70","沒有 RFID 扭力");
					break;
				case 52:			/* Fault N4 */
					HMI_Send_string("t70","沒有 RFID 工人");
					break;
				case 53:			/* Fault N5 */
					HMI_Send_string("t70","錯誤字串");
					break;
				}
			}
			if(flat6 == false)
			{
				switch (gDATABUF[1])
				{
				case 49:            /* Fault N1 */
					HMI_Send_string("g70","Wrong RFID Motor. Testing again");
					break;
				case 50:			/* Fault N2 */
					HMI_Send_string("g70","Wrong RFID Model. Testing again");
					break;
				case 51:			/* Fault N3 */
					HMI_Send_string("g70","Wrong RFID Torque. Testing again");
					break;
				case 52:			/* Fault N4 */
					HMI_Send_string("g70","Wrong RFID Employee. Testing again");
					break;
				case 53:			/* Fault N5 */
					HMI_Send_string("g70","Wrong string. Testing again");
					break;
				}
			}
			if(flat5 == false)
			{
				switch (gDATABUF[1])
				{
				case 49:            /* Fault N1 */
					HMI_Send_string("t70","Lỗi RFID động cơ. Xin kiểm tra lại");
					break;
				case 50:			/* Fault N2 */
					HMI_Send_string("t70","Lỗi RFID mẫu motor. Xin kiểm tra lại");
					break;
				case 51:			/* Fault N3 */
					HMI_Send_string("t70","Lỗi RFID momen. Xin kiểm tra lại");
					break;
				case 52:			/* Fault N4 */
					HMI_Send_string("t70","Lỗi RFID nhân viên. Xin kiểm tra lại");
					break;
				case 53:			/* Fault N5 */
					HMI_Send_string("t70","Lỗi dữ liệu. Xin kiểm tra lại");
					break;
				}
			}
		}
}
void Ethernet_Send(void)
{
	//temp_time4 = 3;
	HAL_Delay(4);
		  switch(getSn_SR(SOCK_TCPS))
		  {
				case SOCK_INIT:
						connect(SOCK_TCPS,DstIP,DstPort);   // TCP Client connect to server
				break;
				case SOCK_ESTABLISHED:
						len=getSn_RX_RSR(SOCK_TCPS);
						memset(gDATABUF,0,sizeof(gDATABUF));
						if (flat)
						{
							send(SOCK_TCPS,(uint8_t *)msg3_buff,strlen(msg3_buff));
							flat=false;
							current = Tem.counter;
						}
						if ((Tem.counter-current)>10)
						{
							flat = true;
						}
						for (int i = 0; i<=100; i++)
						{
							if (i == 100)
							{
								flat = true;
							}
						}
							recv(SOCK_TCPS,gDATABUF,len);

							if (gDATABUF[0] == 79)
							{
								if(flat4 == false)
									{
										HMI_Send_string("t70","發送成功,測試馬達完成");    // Remember ","
									}
								if(flat6 == false)
									{
										HMI_Send_string("g70","Send successfully. Testing motor is completed");
									}
								if(flat5 == false)
									{
										HMI_Send_string("t70","Gửi thành công. Hoàn tất kiểm tra");
									}
								flat=false;
								disconnect(SOCK_TCPS);
								memset(gDATABUF,0,sizeof(gDATABUF));
							}
							Send_fault();
				break;
				case SOCK_CLOSE_WAIT:
						disconnect(SOCK_TCPS);
				break;
				case SOCK_CLOSED:
						socket(SOCK_TCPS,Sn_MR_TCP,5000,0x00);
				break;
		  }
}
/*----------------------------------------------------ETHERNET Receive void----------------------------------------------------*/
void Ethernet_Receive(void)
{
		switch(getSn_SR(SOCK_TCPS1))
		{
			case SOCK_INIT:
					connect(SOCK_TCPS1,DstIP,DstPort);   // TCP Client connect to server
			break;
			case SOCK_ESTABLISHED:
					len1=getSn_RX_RSR(SOCK_TCPS1);
					memset(hDATABUF,0,sizeof(hDATABUF));
					if(flat1)
					{
						send(SOCK_TCPS1,(uint8_t *)msg4_buff,strlen(msg4_buff));
						flat1 = false;
					}
					recv(SOCK_TCPS1,hDATABUF,len1);
					if(len1)
					{
						for(int a = 0;a< sizeof(hDATABUF); a++)
						{
							kDATABUF[a]=hDATABUF[a];
						}
					Flag.recv = true;
					flat1 = false;
					memset(hDATABUF,0,sizeof(hDATABUF));
					}
			break;
			case SOCK_CLOSE_WAIT:
					disconnect(SOCK_TCPS1);
			break;
			case SOCK_CLOSED:
					socket(SOCK_TCPS1,Sn_MR_TCP,5000,0x00);
			break;
		}
}

/*----------------------------------------------------GET INFORMATION void----------------------------------------------------*/
void Get_data(char*array1, char*array2, int val1, int val2, int val3)
{
	memcpy(array1,&kDATABUF[val1],val2*sizeof(char));
	sprintf(array2,"t%d.txt=\"%s\"",val3,array1);
	HAL_UART_Transmit(&huart4,(uint8_t *)array2,strlen(array2),1000);
	HAL_UART_Transmit(&huart4,Cmd_End,3,100);
}

/* USER CODE END 4 */

void Error_Handler(void)
{
  __disable_irq();
  while (1)
  {
  }
}

/************************ (C) COPYRIGHT STMicroelectronics *****END OF FILE****/
